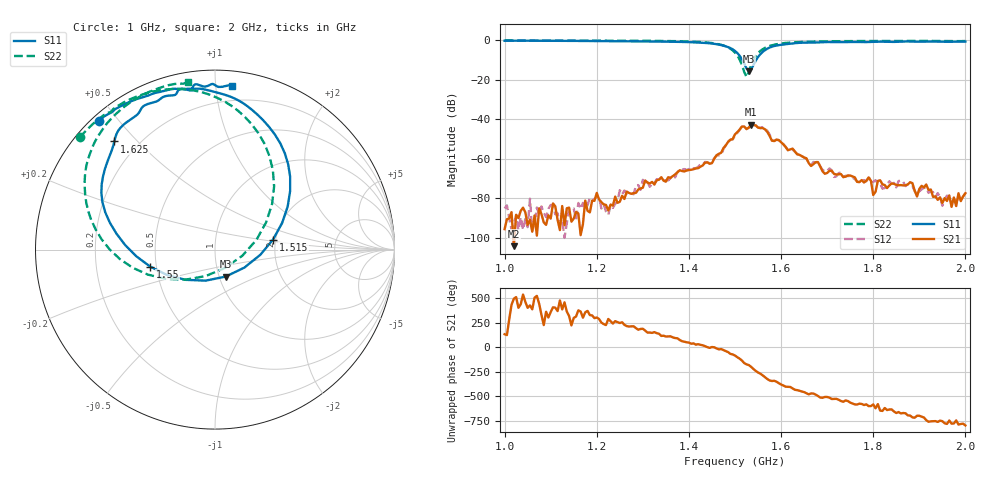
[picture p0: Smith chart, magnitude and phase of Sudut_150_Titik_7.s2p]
# Hz S RI R 50
! CMT, C1220, 16058040, 17.2.0/1
! Date: 14/08/2018 12:14:03
! Data: Format (Calibration Info)
! Freq  S11: Re/Im (F2)  S21: Re/Im (F2)  S12: Re/Im (F2)  S22: Re/Im (F2)
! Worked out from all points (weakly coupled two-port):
!   201 points, 1 GHz to 2 GHz, reference 50 ohm
!   highest |S21| = -42.78 dB at 1.535 GHz (marker M1); lowest = -104.3 dB at 1.02 GHz (marker M2)
!   lowest |S11| = -15.8 dB at 1.53 GHz (marker M3), VSWR 1.39, Z = 53.7 - j16.6 ohm
!   |S11| at or under -10 dB: 1.516 GHz to 1.546 GHz (30.37 MHz wide, 1.98 % of centre)
!   |S22| runs from -18.7 to -0.2 dB; largest |S21 - S12| = 0.00045
!   S11 on the Smith chart (normalised r, x): 1 GHz: 0.02, +0.44; 1.515 GHz: 1.94, +0.24; 1.55 GHz: 0.46, -0.10; 1.625 GHz: 0.12, +0.43; 2 GHz: 0.10, +1.11
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1e9  -0.647 0.7145  -1.11e-05 1.21e-05  1.94e-05 -5.14e-05  -0.7533 0.6253
1.02e9  -0.6277 0.731  -4.16e-06 4.43e-06  -2.11e-05 -7.87e-06  -0.7395 0.6402
1.17e9  -0.4777 0.8223  1.13e-05 -1.89e-05  5.75e-05 -4.96e-05  -0.6166 0.7508
1.26e9  -0.3436 0.8697  -6.37e-05 -7.06e-05  -4.87e-05 -0.000148  -0.5223 0.8125
1.335e9  -0.219 0.8956  -0.000217 0.000197  -0.000204 0.000219  -0.4001 0.8654
1.45e9  0.1801 0.7992  0.000768 2.98e-05  0.00083 -1.22e-05  0.0235 0.8402
1.5e9  0.4187 0.3269  0.00041 -0.0041  0.000407 -0.00376  0.3294 0.3523
1.515e9  0.3232 0.0558  -0.00457 -0.00459  -0.00445 -0.00471  0.2307 0.0539
1.53e9  0.06 -0.1502  -0.00608 0.000106  -0.00615 7.63e-05  -0.0514 -0.1473
1.535e9  -0.0522 -0.173  -0.00686 0.00239  -0.00685 0.00235  -0.1648 -0.1674
1.55e9  -0.3603 -0.0952  -0.00139 0.00593  -0.00169 0.00589  -0.4596 -0.1005
1.625e9  -0.5603 0.6027  0.000931 -0.00153  0.000913 -0.00143  -0.7012 0.5219
1.67e9  -0.4429 0.744  -0.000251 -0.000674  -0.000254 -0.000779  -0.6247 0.6727
1.79e9  -0.215 0.8686  -0.000175 0.000284  -0.000191 0.000252  -0.4381 0.8411
1.8e9  -0.2076 0.8831  -9.03e-05 7.94e-05  -6.17e-05 0.000246  -0.424 0.8491
1.81e9  -0.1955 0.8936  -0.000213 0.000169  0.000163 0.000167  -0.4104 0.8576
1.835e9  -0.1442 0.8877  1.03e-05 0.000209  8.59e-05 0.000253  -0.3765 0.874
1.885e9  -0.0872 0.9164  0.000237 2.97e-05  0.000194 6.41e-05  -0.3055 0.902
1.895e9  -0.0665 0.9092  0.000101 4.35e-05  0.000123 -3.02e-05  -0.2914 0.9067
1.915e9  -0.0302 0.917  0.000206 -8.05e-05  0.000178 -5.14e-05  -0.2647 0.9146
1.935e9  -0.00681 0.9209  9.51e-05 -5.7e-05  7.65e-05 -7.07e-05  -0.2355 0.9211
2e9  0.0959 0.9129  3.4e-05 -0.000129  4.47e-05 -0.000125  -0.1518 0.933
